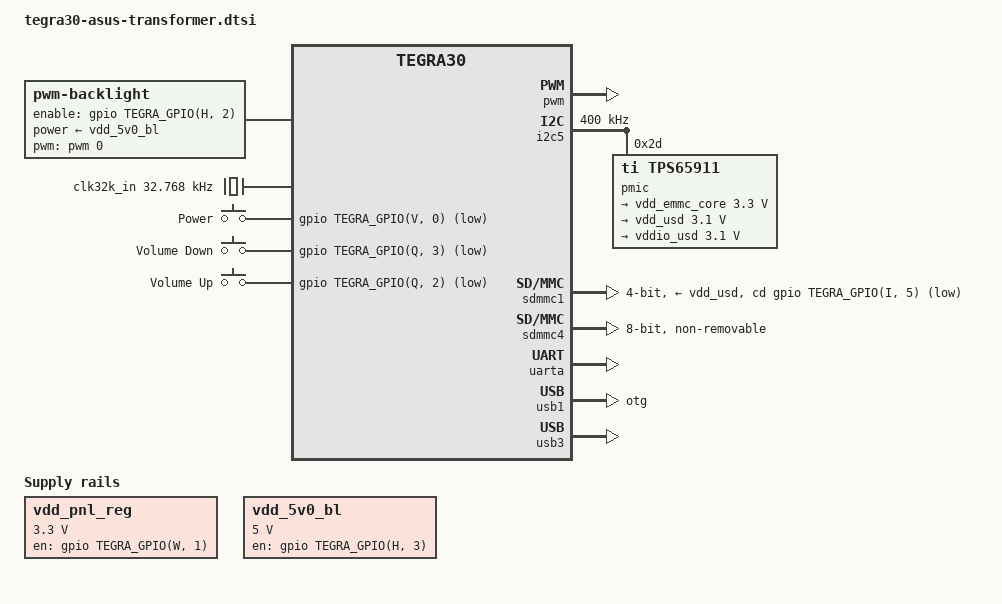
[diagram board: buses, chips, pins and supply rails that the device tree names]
// SPDX-License-Identifier: GPL-2.0

#include "tegra30.dtsi"

/ {
	backlight: backlight {
		compatible = "pwm-backlight";

		enable-gpios = <&gpio TEGRA_GPIO(H, 2) GPIO_ACTIVE_HIGH>;
		power-supply = <&vdd_5v0_bl>;
		pwms = <&pwm 0 4000000>;

		brightness-levels = <1 35 70 105 140 175 210 255>;
		default-brightness-level = <5>;
	};

	/* PMIC has a built-in 32KHz oscillator which is used by PMC */
	clk32k_in: clock-32k {
		compatible = "fixed-clock";
		#clock-cells = <0>;
		clock-frequency = <32768>;
		clock-output-names = "pmic-oscillator";
	};

	gpio-keys {
		compatible = "gpio-keys";

		key-power {
			label = "Power";
			gpios = <&gpio TEGRA_GPIO(V, 0) GPIO_ACTIVE_LOW>;
			linux,code = <KEY_ENTER>;
		};

		key-volume-down {
			label = "Volume Down";
			gpios = <&gpio TEGRA_GPIO(Q, 3) GPIO_ACTIVE_LOW>;
			linux,code = <KEY_DOWN>;
		};

		key-volume-up {
			label = "Volume Up";
			gpios = <&gpio TEGRA_GPIO(Q, 2) GPIO_ACTIVE_LOW>;
			linux,code = <KEY_UP>;
		};
	};

	vdd_pnl_reg: regulator-pnl {
		compatible = "regulator-fixed";
		regulator-name = "vdd_panel";
		regulator-min-microvolt = <3300000>;
		regulator-max-microvolt = <3300000>;
		regulator-enable-ramp-delay = <20000>;
		gpio = <&gpio TEGRA_GPIO(W, 1) GPIO_ACTIVE_HIGH>;
		enable-active-high;
	};

	vdd_5v0_bl: regulator-bl {
		compatible = "regulator-fixed";
		regulator-name = "vdd_5v0_bl";
		regulator-min-microvolt = <5000000>;
		regulator-max-microvolt = <5000000>;
		gpio = <&gpio TEGRA_GPIO(H, 3) GPIO_ACTIVE_HIGH>;
		enable-active-high;
	};
};

&aliases {
	mmc0 = &sdmmc4;	/* eMMC */
	mmc1 = &sdmmc1; /* uSD slot */

	usb0 = &usb1;
	usb1 = &usb3; /* Dock's USB port */
};

&chosen {
	stdout-path = &uarta;
};

&pwm {
	status = "okay";
};

&i2c5 {
	status = "okay";
	clock-frequency = <400000>;

	/* Texas Instruments TPS659110 PMIC */
	pmic: tps65911@2d {
		compatible = "ti,tps65911";
		reg = <0x2d>;

		interrupts = <GIC_SPI 86 IRQ_TYPE_LEVEL_HIGH>;
		#interrupt-cells = <2>;
		interrupt-controller;

		ti,system-power-controller;

		#gpio-cells = <2>;
		gpio-controller;

		regulators {
			/* eMMC VDD */
			ldo1 {
				regulator-name = "vdd_emmc_core";
				regulator-min-microvolt = <3300000>;
				regulator-max-microvolt = <3300000>;
				regulator-always-on;
			};

			/* uSD slot VDD */
			vdd_usd: ldo2 {
				regulator-name = "vdd_usd";
				regulator-min-microvolt = <3100000>;
				regulator-max-microvolt = <3100000>;
			};

			/* uSD slot VDDIO */
			vddio_usd: ldo3 {
				regulator-name = "vddio_usd";
				regulator-min-microvolt = <3100000>;
				regulator-max-microvolt = <3100000>;
			};
		};
	};
};

&memory {
		reg = <0x80000000 0x40000000>;
};

&sdmmc1 {
	status = "okay";
	bus-width = <4>;

	cd-gpios = <&gpio TEGRA_GPIO(I, 5) GPIO_ACTIVE_LOW>;

	vmmc-supply = <&vdd_usd>;
	vqmmc-supply = <&vddio_usd>;
};

&sdmmc4 {
	status = "okay";
	bus-width = <8>;
	non-removable;
};

&uarta {
	status = "okay";
};

/* USB via ASUS connector */
&usb1 {
	status = "okay";
	dr_mode = "otg";
};

/* Dock's USB port */
&usb3 {
	status = "okay";
};
